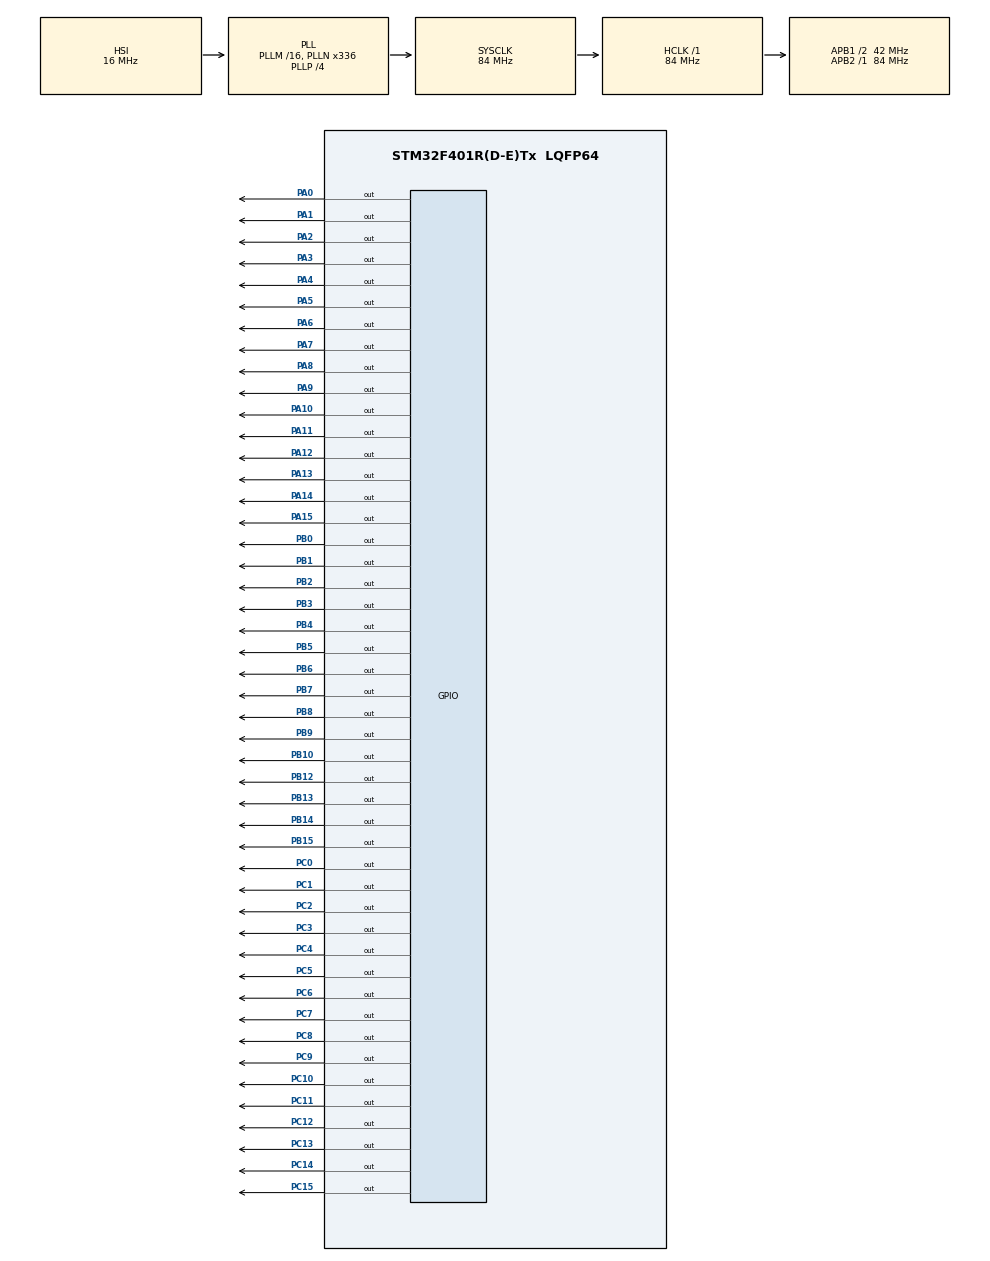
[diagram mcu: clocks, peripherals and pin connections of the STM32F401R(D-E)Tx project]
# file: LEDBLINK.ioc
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Mcu.Family=STM32F4
Mcu.Name=STM32F401R(D-E)Tx
Mcu.Package=LQFP64
NVIC.PriorityGroup=NVIC_PRIORITYGROUP_0
PA0-WKUP.Signal=GPIO_Output
PA1.Signal=GPIO_Output
PA10.Signal=GPIO_Output
PA11.Signal=GPIO_Output
PA12.Signal=GPIO_Output
PA13.Signal=GPIO_Output
PA14.Signal=GPIO_Output
PA15.Signal=GPIO_Output
PA2.Signal=GPIO_Output
PA3.Signal=GPIO_Output
PA4.Signal=GPIO_Output
PA5.Signal=GPIO_Output
PA6.Signal=GPIO_Output
PA7.Signal=GPIO_Output
PA8.Signal=GPIO_Output
PA9.Signal=GPIO_Output
PB0.Signal=GPIO_Output
PB1.Signal=GPIO_Output
PB10.Signal=GPIO_Output
PB12.Signal=GPIO_Output
PB13.Signal=GPIO_Output
PB14.Signal=GPIO_Output
PB15.Signal=GPIO_Output
PB2.Signal=GPIO_Output
PB3.Signal=GPIO_Output
PB4.Signal=GPIO_Output
PB5.Signal=GPIO_Output
PB6.Signal=GPIO_Output
PB7.Signal=GPIO_Output
PB8.Signal=GPIO_Output
PB9.Signal=GPIO_Output
PC0.Signal=GPIO_Output
PC1.Signal=GPIO_Output
PC10.Signal=GPIO_Output
PC11.Signal=GPIO_Output
PC12.Signal=GPIO_Output
PC13-ANTI_TAMP.Signal=GPIO_Output
PC14-OSC32_IN.Signal=GPIO_Output
PC15-OSC32_OUT.Signal=GPIO_Output
PC2.Signal=GPIO_Output
PC3.Signal=GPIO_Output
PC4.Signal=GPIO_Output
PC5.Signal=GPIO_Output
PC6.Signal=GPIO_Output
PC7.Signal=GPIO_Output
PC8.Signal=GPIO_Output
PC9.Signal=GPIO_Output
PH0\ -\ OSC_IN.Mode=HSE-External-Clock-Source
PH0\ -\ OSC_IN.Signal=RCC_OSC_IN
PH1\ -\ OSC_OUT.Mode=HSE-External-Clock-Source
PH1\ -\ OSC_OUT.Signal=RCC_OSC_OUT
ProjectManager.HeapSize=0x200
ProjectManager.StackSize=0x400
ProjectManager.TargetToolchain=MDK-ARM V5.32
RCC.48MHZClocksFreq_Value=48000000
RCC.AHBFreq_Value=84000000
RCC.APB1CLKDivider=RCC_HCLK_DIV2
RCC.APB1Freq_Value=42000000
RCC.APB1TimFreq_Value=84000000
RCC.APB2Freq_Value=84000000
RCC.APB2TimFreq_Value=84000000
RCC.CortexFreq_Value=84000000
RCC.HCLKFreq_Value=84000000
RCC.HSE_VALUE=8000000
RCC.HSI_VALUE=16000000
RCC.PLLN=336
RCC.PLLP=RCC_PLLP_DIV4
RCC.PLLQ=7
RCC.SYSCLKFreq_VALUE=84000000
RCC.SYSCLKSource=RCC_SYSCLKSOURCE_PLLCLK
RCC.VCOOutputFreq_Value=336000000
board=NUCLEO-F401RE

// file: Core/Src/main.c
/* USER CODE BEGIN Header */
/**
  ******************************************************************************
  * @file           : main.c
  * @brief          : Main program body
  ******************************************************************************
  * @attention
  *
  * Copyright (c) 2024 STMicroelectronics.
  * All rights reserved.
  *
  * This software is licensed under terms that can be found in the LICENSE file
  * in the root directory of this software component.
  * If no LICENSE file comes with this software, it is provided AS-IS.
  *
  ******************************************************************************
  */
/* USER CODE END Header */
#include "main.h"

/* USER CODE BEGIN PM */
#define HIGH	GPIO_PIN_SET
#define LOW		GPIO_PIN_RESET
/* USER CODE END PM */

void SystemClock_Config(void);
static void MX_GPIO_Init(void);

int main(void)
{

  /* MCU Configuration--------------------------------------------------------*/

  /* Reset of all peripherals, Initializes the Flash interface and the Systick. */
  HAL_Init();

  /* Configure the system clock */
  SystemClock_Config();

  /* Initialize all configured peripherals */
  MX_GPIO_Init();

  /* Infinite loop */
  while (1)
  {

    /* USER CODE BEGIN 3 */

		HAL_GPIO_WritePin(GPIOA,GPIO_PIN_0,HIGH);
		HAL_Delay(100);
		HAL_GPIO_WritePin(GPIOA,GPIO_PIN_0,LOW);
		HAL_Delay(100);

		HAL_GPIO_WritePin(GPIOA,GPIO_PIN_1,HIGH);
		HAL_Delay(100);
		HAL_GPIO_WritePin(GPIOA,GPIO_PIN_1,LOW);
		HAL_Delay(100);

		HAL_GPIO_WritePin(GPIOA,GPIO_PIN_2,HIGH);
		HAL_Delay(100);
		HAL_GPIO_WritePin(GPIOA,GPIO_PIN_2,LOW);
		HAL_Delay(100);

		HAL_GPIO_WritePin(GPIOA,GPIO_PIN_3,HIGH);
		HAL_Delay(100);
		HAL_GPIO_WritePin(GPIOA,GPIO_PIN_3,LOW);
		HAL_Delay(100);

		HAL_GPIO_WritePin(GPIOA,GPIO_PIN_4,HIGH);
		HAL_Delay(100);
		HAL_GPIO_WritePin(GPIOA,GPIO_PIN_4,LOW);
		HAL_Delay(100);

		HAL_GPIO_WritePin(GPIOA,GPIO_PIN_5,HIGH);
		HAL_Delay(100);
		HAL_GPIO_WritePin(GPIOA,GPIO_PIN_5,LOW);
		HAL_Delay(100);

		HAL_GPIO_WritePin(GPIOA,GPIO_PIN_6,HIGH);
		HAL_Delay(100);
		HAL_GPIO_WritePin(GPIOA,GPIO_PIN_6,LOW);
		HAL_Delay(100);

		HAL_GPIO_WritePin(GPIOA,GPIO_PIN_7,HIGH);
		HAL_Delay(100);
		HAL_GPIO_WritePin(GPIOA,GPIO_PIN_7,LOW);
		HAL_Delay(100);

		HAL_GPIO_WritePin(GPIOA,GPIO_PIN_8,HIGH);
		HAL_Delay(100);
		HAL_GPIO_WritePin(GPIOA,GPIO_PIN_8,LOW);
		HAL_Delay(100);

		HAL_GPIO_WritePin(GPIOA,GPIO_PIN_9,HIGH);
		HAL_Delay(100);
		HAL_GPIO_WritePin(GPIOA,GPIO_PIN_9,LOW);
		HAL_Delay(100);

		HAL_GPIO_WritePin(GPIOA,GPIO_PIN_10,HIGH);
		HAL_Delay(100);
		HAL_GPIO_WritePin(GPIOA,GPIO_PIN_10,LOW);
		HAL_Delay(100);

		HAL_GPIO_WritePin(GPIOA,GPIO_PIN_11,HIGH);
		HAL_Delay(100);
		HAL_GPIO_WritePin(GPIOA,GPIO_PIN_11,LOW);
		HAL_Delay(100);

		HAL_GPIO_WritePin(GPIOA,GPIO_PIN_12,HIGH);
		HAL_Delay(100);
		HAL_GPIO_WritePin(GPIOA,GPIO_PIN_12,LOW);
		HAL_Delay(100);

		HAL_GPIO_WritePin(GPIOA,GPIO_PIN_13,HIGH);
		HAL_Delay(100);
		HAL_GPIO_WritePin(GPIOA,GPIO_PIN_13,LOW);
		HAL_Delay(100);

		HAL_GPIO_WritePin(GPIOA,GPIO_PIN_14,HIGH);
		HAL_Delay(100);
		HAL_GPIO_WritePin(GPIOA,GPIO_PIN_14,LOW);
		HAL_Delay(100);

		HAL_GPIO_WritePin(GPIOA,GPIO_PIN_15,HIGH);
		HAL_Delay(100);
		HAL_GPIO_WritePin(GPIOA,GPIO_PIN_15,LOW);
		HAL_Delay(100);
		HAL_GPIO_WritePin(GPIOB,GPIO_PIN_0,HIGH);
		HAL_Delay(100);
		HAL_GPIO_WritePin(GPIOB,GPIO_PIN_0,LOW);
		HAL_Delay(100);

		HAL_GPIO_WritePin(GPIOB,GPIO_PIN_1,HIGH);
		HAL_Delay(100);
		HAL_GPIO_WritePin(GPIOB,GPIO_PIN_1,LOW);
		HAL_Delay(100);

		HAL_GPIO_WritePin(GPIOB,GPIO_PIN_2,HIGH);
		HAL_Delay(100);
		HAL_GPIO_WritePin(GPIOB,GPIO_PIN_2,LOW);
		HAL_Delay(100);

		HAL_GPIO_WritePin(GPIOB,GPIO_PIN_3,HIGH);
		HAL_Delay(100);
		HAL_GPIO_WritePin(GPIOB,GPIO_PIN_3,LOW);
		HAL_Delay(100);

		HAL_GPIO_WritePin(GPIOB,GPIO_PIN_4,HIGH);
		HAL_Delay(100);
		HAL_GPIO_WritePin(GPIOB,GPIO_PIN_4,LOW);
		HAL_Delay(100);

		HAL_GPIO_WritePin(GPIOB,GPIO_PIN_5,HIGH);
		HAL_Delay(100);
		HAL_GPIO_WritePin(GPIOB,GPIO_PIN_5,LOW);
		HAL_Delay(100);

		HAL_GPIO_WritePin(GPIOB,GPIO_PIN_6,HIGH);
		HAL_Delay(100);
		HAL_GPIO_WritePin(GPIOB,GPIO_PIN_6,LOW);
		HAL_Delay(100);

		HAL_GPIO_WritePin(GPIOB,GPIO_PIN_7,HIGH);
		HAL_Delay(100);
		HAL_GPIO_WritePin(GPIOB,GPIO_PIN_7,LOW);
		HAL_Delay(100);

		HAL_GPIO_WritePin(GPIOB,GPIO_PIN_8,HIGH);
		HAL_Delay(100);
		HAL_GPIO_WritePin(GPIOB,GPIO_PIN_8,LOW);
		HAL_Delay(100);

		HAL_GPIO_WritePin(GPIOB,GPIO_PIN_9,HIGH);
		HAL_Delay(100);
		HAL_GPIO_WritePin(GPIOB,GPIO_PIN_9,LOW);
		HAL_Delay(100);

		HAL_GPIO_WritePin(GPIOB,GPIO_PIN_10,HIGH);
		HAL_Delay(100);
		HAL_GPIO_WritePin(GPIOB,GPIO_PIN_10,LOW);
		HAL_Delay(100);

		HAL_GPIO_WritePin(GPIOB,GPIO_PIN_12,HIGH);
		HAL_Delay(100);
		HAL_GPIO_WritePin(GPIOB,GPIO_PIN_12,LOW);
		HAL_Delay(100);

		HAL_GPIO_WritePin(GPIOB,GPIO_PIN_13,HIGH);
		HAL_Delay(100);
		HAL_GPIO_WritePin(GPIOB,GPIO_PIN_13,LOW);
		HAL_Delay(100);

		HAL_GPIO_WritePin(GPIOB,GPIO_PIN_14,HIGH);
		HAL_Delay(100);
		HAL_GPIO_WritePin(GPIOB,GPIO_PIN_14,LOW);
		HAL_Delay(100);

		HAL_GPIO_WritePin(GPIOB,GPIO_PIN_15,HIGH);
		HAL_Delay(100);
		HAL_GPIO_WritePin(GPIOB,GPIO_PIN_15,LOW);
		HAL_Delay(100);
		HAL_GPIO_WritePin(GPIOC,GPIO_PIN_0,HIGH);
		HAL_Delay(100);
		HAL_GPIO_WritePin(GPIOC,GPIO_PIN_0,LOW);
		HAL_Delay(100);

		HAL_GPIO_WritePin(GPIOC,GPIO_PIN_1,HIGH);
		HAL_Delay(100);
		HAL_GPIO_WritePin(GPIOC,GPIO_PIN_1,LOW);
		HAL_Delay(100);

		HAL_GPIO_WritePin(GPIOC,GPIO_PIN_2,HIGH);
		HAL_Delay(100);
		HAL_GPIO_WritePin(GPIOC,GPIO_PIN_2,LOW);
		HAL_Delay(100);

		HAL_GPIO_WritePin(GPIOC,GPIO_PIN_3,HIGH);
		HAL_Delay(100);
		HAL_GPIO_WritePin(GPIOC,GPIO_PIN_3,LOW);
		HAL_Delay(100);

		HAL_GPIO_WritePin(GPIOC,GPIO_PIN_4,HIGH);
		HAL_Delay(100);
		HAL_GPIO_WritePin(GPIOC,GPIO_PIN_4,LOW);
		HAL_Delay(100);

		HAL_GPIO_WritePin(GPIOC,GPIO_PIN_5,HIGH);
		HAL_Delay(100);
		HAL_GPIO_WritePin(GPIOC,GPIO_PIN_5,LOW);
		HAL_Delay(100);

		HAL_GPIO_WritePin(GPIOC,GPIO_PIN_6,HIGH);
		HAL_Delay(100);
		HAL_GPIO_WritePin(GPIOC,GPIO_PIN_6,LOW);
		HAL_Delay(100);

		HAL_GPIO_WritePin(GPIOC,GPIO_PIN_7,HIGH);
		HAL_Delay(100);
		HAL_GPIO_WritePin(GPIOC,GPIO_PIN_7,LOW);
		HAL_Delay(100);

		HAL_GPIO_WritePin(GPIOC,GPIO_PIN_8,HIGH);
		HAL_Delay(100);
		HAL_GPIO_WritePin(GPIOC,GPIO_PIN_8,LOW);
		HAL_Delay(100);

		HAL_GPIO_WritePin(GPIOC,GPIO_PIN_9,HIGH);
		HAL_Delay(100);
		HAL_GPIO_WritePin(GPIOC,GPIO_PIN_9,LOW);
		HAL_Delay(100);

		HAL_GPIO_WritePin(GPIOC,GPIO_PIN_10,HIGH);
		HAL_Delay(100);
		HAL_GPIO_WritePin(GPIOC,GPIO_PIN_10,LOW);
		HAL_Delay(100);

		HAL_GPIO_WritePin(GPIOC,GPIO_PIN_11,HIGH);
		HAL_Delay(100);
		HAL_GPIO_WritePin(GPIOC,GPIO_PIN_11,LOW);
		HAL_Delay(100);

		HAL_GPIO_WritePin(GPIOC,GPIO_PIN_12,HIGH);
		HAL_Delay(100);
		HAL_GPIO_WritePin(GPIOC,GPIO_PIN_12,LOW);
		HAL_Delay(100);

		HAL_GPIO_WritePin(GPIOC,GPIO_PIN_13,HIGH);
		HAL_Delay(100);
		HAL_GPIO_WritePin(GPIOC,GPIO_PIN_13,LOW);
		HAL_Delay(100);

		HAL_GPIO_WritePin(GPIOC,GPIO_PIN_14,HIGH);
		HAL_Delay(100);
		HAL_GPIO_WritePin(GPIOC,GPIO_PIN_14,LOW);
		HAL_Delay(100);

		HAL_GPIO_WritePin(GPIOC,GPIO_PIN_15,HIGH);
		HAL_Delay(100);
		HAL_GPIO_WritePin(GPIOC,GPIO_PIN_15,LOW);
		HAL_Delay(100);
  }
  /* USER CODE END 3 */
}

void SystemClock_Config(void)
{
  RCC_OscInitTypeDef RCC_OscInitStruct = {0};
  RCC_ClkInitTypeDef RCC_ClkInitStruct = {0};

  /** Configure the main internal regulator output voltage
  */
  __HAL_RCC_PWR_CLK_ENABLE();
  __HAL_PWR_VOLTAGESCALING_CONFIG(PWR_REGULATOR_VOLTAGE_SCALE2);

  /** Initializes the RCC Oscillators according to the specified parameters
  * in the RCC_OscInitTypeDef structure.
  */
  RCC_OscInitStruct.OscillatorType = RCC_OSCILLATORTYPE_HSI;
  RCC_OscInitStruct.HSIState = RCC_HSI_ON;
  RCC_OscInitStruct.HSICalibrationValue = RCC_HSICALIBRATION_DEFAULT;
  RCC_OscInitStruct.PLL.PLLState = RCC_PLL_ON;
  RCC_OscInitStruct.PLL.PLLSource = RCC_PLLSOURCE_HSI;
  RCC_OscInitStruct.PLL.PLLM = 16;
  RCC_OscInitStruct.PLL.PLLN = 336;
  RCC_OscInitStruct.PLL.PLLP = RCC_PLLP_DIV4;
  RCC_OscInitStruct.PLL.PLLQ = 7;
  if (HAL_RCC_OscConfig(&RCC_OscInitStruct) != HAL_OK)
  {
    Error_Handler();
  }

  /** Initializes the CPU, AHB and APB buses clocks
  */
  RCC_ClkInitStruct.ClockType = RCC_CLOCKTYPE_HCLK|RCC_CLOCKTYPE_SYSCLK
                              |RCC_CLOCKTYPE_PCLK1|RCC_CLOCKTYPE_PCLK2;
  RCC_ClkInitStruct.SYSCLKSource = RCC_SYSCLKSOURCE_PLLCLK;
  RCC_ClkInitStruct.AHBCLKDivider = RCC_SYSCLK_DIV1;
  RCC_ClkInitStruct.APB1CLKDivider = RCC_HCLK_DIV2;
  RCC_ClkInitStruct.APB2CLKDivider = RCC_HCLK_DIV1;

  if (HAL_RCC_ClockConfig(&RCC_ClkInitStruct, FLASH_LATENCY_2) != HAL_OK)
  {
    Error_Handler();
  }
}

static void MX_GPIO_Init(void)
{
  GPIO_InitTypeDef GPIO_InitStruct = {0};

  /* GPIO Ports Clock Enable */
  __HAL_RCC_GPIOC_CLK_ENABLE();
  __HAL_RCC_GPIOH_CLK_ENABLE();
  __HAL_RCC_GPIOA_CLK_ENABLE();
  __HAL_RCC_GPIOB_CLK_ENABLE();

  /*Configure GPIO pin Output Level */
  HAL_GPIO_WritePin(GPIOC, GPIO_PIN_13|GPIO_PIN_14|GPIO_PIN_15|GPIO_PIN_0
                          |GPIO_PIN_1|GPIO_PIN_2|GPIO_PIN_3|GPIO_PIN_4
                          |GPIO_PIN_5|GPIO_PIN_6|GPIO_PIN_7|GPIO_PIN_8
                          |GPIO_PIN_9|GPIO_PIN_10|GPIO_PIN_11|GPIO_PIN_12, GPIO_PIN_RESET);

  /*Configure GPIO pin Output Level */
  HAL_GPIO_WritePin(GPIOA, GPIO_PIN_0|GPIO_PIN_1|GPIO_PIN_2|GPIO_PIN_3
                          |GPIO_PIN_4|GPIO_PIN_5|GPIO_PIN_6|GPIO_PIN_7
                          |GPIO_PIN_8|GPIO_PIN_9|GPIO_PIN_10|GPIO_PIN_11
                          |GPIO_PIN_12|GPIO_PIN_13|GPIO_PIN_14|GPIO_PIN_15, GPIO_PIN_RESET);

  /*Configure GPIO pin Output Level */
  HAL_GPIO_WritePin(GPIOB, GPIO_PIN_0|GPIO_PIN_1|GPIO_PIN_2|GPIO_PIN_10
                          |GPIO_PIN_12|GPIO_PIN_13|GPIO_PIN_14|GPIO_PIN_15
                          |GPIO_PIN_3|GPIO_PIN_4|GPIO_PIN_5|GPIO_PIN_6
                          |GPIO_PIN_7|GPIO_PIN_8|GPIO_PIN_9, GPIO_PIN_RESET);

  /*Configure GPIO pins : PC13 PC14 PC15 PC0
                           PC1 PC2 PC3 PC4
                           PC5 PC6 PC7 PC8
                           PC9 PC10 PC11 PC12 */
  GPIO_InitStruct.Pin = GPIO_PIN_13|GPIO_PIN_14|GPIO_PIN_15|GPIO_PIN_0
                          |GPIO_PIN_1|GPIO_PIN_2|GPIO_PIN_3|GPIO_PIN_4
                          |GPIO_PIN_5|GPIO_PIN_6|GPIO_PIN_7|GPIO_PIN_8
                          |GPIO_PIN_9|GPIO_PIN_10|GPIO_PIN_11|GPIO_PIN_12;
  GPIO_InitStruct.Mode = GPIO_MODE_OUTPUT_PP;
  GPIO_InitStruct.Pull = GPIO_NOPULL;
  GPIO_InitStruct.Speed = GPIO_SPEED_FREQ_LOW;
  HAL_GPIO_Init(GPIOC, &GPIO_InitStruct);

  /*Configure GPIO pins : PA0 PA1 PA2 PA3
                           PA4 PA5 PA6 PA7
                           PA8 PA9 PA10 PA11
                           PA12 PA13 PA14 PA15 */
  GPIO_InitStruct.Pin = GPIO_PIN_0|GPIO_PIN_1|GPIO_PIN_2|GPIO_PIN_3
                          |GPIO_PIN_4|GPIO_PIN_5|GPIO_PIN_6|GPIO_PIN_7
                          |GPIO_PIN_8|GPIO_PIN_9|GPIO_PIN_10|GPIO_PIN_11
                          |GPIO_PIN_12|GPIO_PIN_13|GPIO_PIN_14|GPIO_PIN_15;
  GPIO_InitStruct.Mode = GPIO_MODE_OUTPUT_PP;
  GPIO_InitStruct.Pull = GPIO_NOPULL;
  GPIO_InitStruct.Speed = GPIO_SPEED_FREQ_LOW;
  HAL_GPIO_Init(GPIOA, &GPIO_InitStruct);

  /*Configure GPIO pins : PB0 PB1 PB2 PB10
                           PB12 PB13 PB14 PB15
                           PB3 PB4 PB5 PB6
                           PB7 PB8 PB9 */
  GPIO_InitStruct.Pin = GPIO_PIN_0|GPIO_PIN_1|GPIO_PIN_2|GPIO_PIN_10
                          |GPIO_PIN_12|GPIO_PIN_13|GPIO_PIN_14|GPIO_PIN_15
                          |GPIO_PIN_3|GPIO_PIN_4|GPIO_PIN_5|GPIO_PIN_6
                          |GPIO_PIN_7|GPIO_PIN_8|GPIO_PIN_9;
  GPIO_InitStruct.Mode = GPIO_MODE_OUTPUT_PP;
  GPIO_InitStruct.Pull = GPIO_NOPULL;
  GPIO_InitStruct.Speed = GPIO_SPEED_FREQ_LOW;
  HAL_GPIO_Init(GPIOB, &GPIO_InitStruct);

}

void Error_Handler(void)
{
  __disable_irq();
  while (1)
  {
  }
}
